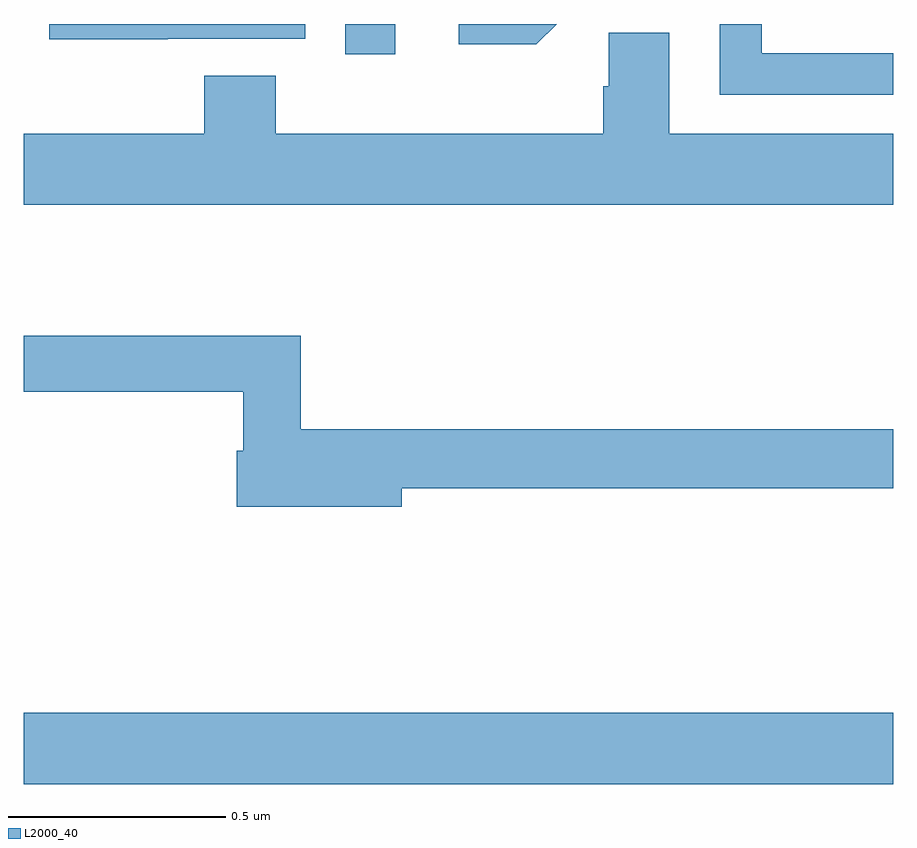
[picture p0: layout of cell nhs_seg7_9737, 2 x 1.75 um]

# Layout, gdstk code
import gdstk
lib = gdstk.Library(unit=1e-6, precision=1e-09)
def R(c, l, rs):  # rectangles x0, y0, x1, y1
    for r in rs: c.add(gdstk.rectangle(r[:2], r[2:], *l))
def P(c, l, *ps):  # polygons
    for p in ps: c.add(gdstk.Polygon(p, *l))
L2000_40 = (2000, 40)

nhs_seg7_9737 = lib.new_cell('nhs_seg7_9737')
R(nhs_seg7_9737, L2000_40, [(241,1031.252,243,1031.416), (241.74,1032.93,241.855,1033)])
P(nhs_seg7_9737, L2000_40, [(242.226,1033),(242.001,1033),(242.001,1032.953),(242.179,1032.953)],
  [(243,1032.933),(242.697,1032.933),(242.697,1033),(242.601,1033),(242.601,1032.837),(243,1032.837)],
  [(241.331,1032.966),(241.647,1032.966),(241.647,1033),(241.059,1033),(241.059,1032.965),(241.331,1032.965)],
  [(243,1032.748),(242.485,1032.748),(242.485,1032.98),(242.346,1032.98),(242.346,1032.857),(242.333,1032.857),(242.333,1032.748),(241.58,1032.748),(241.58,1032.881),(241.415,1032.881),(241.415,1032.748),(241,1032.748),(241,1032.584),(243,1032.584)],
  [(241.87,1031.932),(243,1031.932),(243,1032.068),(241.637,1032.068),(241.637,1032.283),(241,1032.283),(241,1032.154),(241.505,1032.154),(241.505,1032.019),(241.49,1032.019),(241.49,1031.89),(241.87,1031.89)])

lib.write_gds('nhs_seg7_9737.gds')
